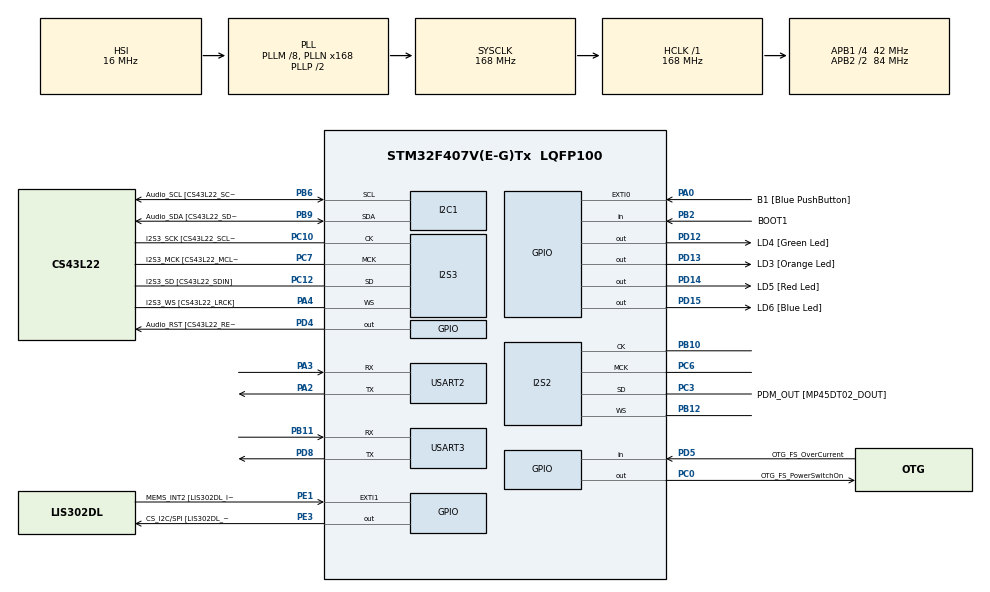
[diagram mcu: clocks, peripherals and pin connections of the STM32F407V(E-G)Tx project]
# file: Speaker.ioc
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Dma.Request0=SPI3_TX
Dma.Request1=USART3_RX
Dma.Request2=USART3_TX
Dma.SPI3_TX.0.Direction=DMA_MEMORY_TO_PERIPH
Dma.SPI3_TX.0.FIFOMode=DMA_FIFOMODE_DISABLE
Dma.SPI3_TX.0.Instance=DMA1_Stream5
Dma.SPI3_TX.0.MemDataAlignment=DMA_MDATAALIGN_BYTE
Dma.SPI3_TX.0.MemInc=DMA_MINC_ENABLE
Dma.SPI3_TX.0.Mode=DMA_NORMAL
Dma.SPI3_TX.0.PeriphDataAlignment=DMA_PDATAALIGN_BYTE
Dma.SPI3_TX.0.PeriphInc=DMA_PINC_DISABLE
Dma.SPI3_TX.0.Priority=DMA_PRIORITY_LOW
Dma.USART3_RX.1.Direction=DMA_PERIPH_TO_MEMORY
Dma.USART3_RX.1.FIFOMode=DMA_FIFOMODE_DISABLE
Dma.USART3_RX.1.Instance=DMA1_Stream1
Dma.USART3_RX.1.MemDataAlignment=DMA_MDATAALIGN_BYTE
Dma.USART3_RX.1.MemInc=DMA_MINC_ENABLE
Dma.USART3_RX.1.Mode=DMA_NORMAL
Dma.USART3_RX.1.PeriphDataAlignment=DMA_PDATAALIGN_BYTE
Dma.USART3_RX.1.PeriphInc=DMA_PINC_DISABLE
Dma.USART3_RX.1.Priority=DMA_PRIORITY_LOW
Dma.USART3_TX.2.Direction=DMA_MEMORY_TO_PERIPH
Dma.USART3_TX.2.FIFOMode=DMA_FIFOMODE_DISABLE
Dma.USART3_TX.2.Instance=DMA1_Stream3
Dma.USART3_TX.2.MemDataAlignment=DMA_MDATAALIGN_BYTE
Dma.USART3_TX.2.MemInc=DMA_MINC_ENABLE
Dma.USART3_TX.2.Mode=DMA_NORMAL
Dma.USART3_TX.2.PeriphDataAlignment=DMA_PDATAALIGN_BYTE
Dma.USART3_TX.2.PeriphInc=DMA_PINC_DISABLE
Dma.USART3_TX.2.Priority=DMA_PRIORITY_LOW
I2S2.ErrorAudioFreq=-0.27 %
I2S2.FullDuplexMode=I2S_FULLDUPLEXMODE_DISABLE
I2S2.Instance=SPI$Index
I2S2.Mode=I2S_MODE_MASTER_RX
I2S2.RealAudioFreq=7.978 KHz
I2S2.VirtualMode=I2S_MODE_MASTER
I2S3.AudioFreq=I2S_AUDIOFREQ_48K
I2S3.ErrorAudioFreq=-2.34 %
I2S3.FullDuplexMode=I2S_FULLDUPLEXMODE_DISABLE
I2S3.Instance=SPI$Index
I2S3.RealAudioFreq=46.875 KHz
I2S3.VirtualMode=I2S_MODE_MASTER
Mcu.Family=STM32F4
Mcu.Name=STM32F407V(E-G)Tx
Mcu.Package=LQFP100
NVIC.DMA1_Stream1_IRQn=true\:0\:0\:false\:false\:true\:false
NVIC.DMA1_Stream3_IRQn=true\:0\:0\:false\:false\:true\:false
NVIC.DMA1_Stream5_IRQn=true\:0\:0\:false\:false\:true\:false
NVIC.PriorityGroup=NVIC_PRIORITYGROUP_4
NVIC.USART2_IRQn=true\:0\:0\:false\:false\:true\:true
NVIC.USART3_IRQn=true\:0\:0\:false\:false\:true\:true
PA0-WKUP.GPIO_Label=B1 [Blue PushButton]
PA0-WKUP.GPIO_ModeDefaultEXTI=GPIO_MODE_EVT_RISING
PA0-WKUP.GPIO_PuPd=GPIO_NOPULL
PA0-WKUP.Signal=GPXTI0
PA10.GPIO_Label=OTG_FS_ID
PA10.GPIO_Mode=GPIO_MODE_AF_PP
PA10.GPIO_PuPd=GPIO_NOPULL
PA10.GPIO_Speed=GPIO_SPEED_FREQ_LOW
PA10.Signal=USB_OTG_FS_ID
PA11.GPIO_Label=OTG_FS_DM
PA11.GPIO_Mode=GPIO_MODE_AF_PP
PA11.GPIO_PuPd=GPIO_NOPULL
PA11.GPIO_Speed=GPIO_SPEED_FREQ_LOW
PA11.Signal=USB_OTG_FS_DM
PA12.GPIO_Label=OTG_FS_DP
PA12.GPIO_Mode=GPIO_MODE_AF_PP
PA12.GPIO_PuPd=GPIO_NOPULL
PA12.GPIO_Speed=GPIO_SPEED_FREQ_LOW
PA12.Signal=USB_OTG_FS_DP
PA13.GPIO_Label=SWDIO
PA13.Signal=SYS_JTMS-SWDIO
PA14.GPIO_Label=SWCLK
PA14.Signal=SYS_JTCK-SWCLK
PA2.Mode=Asynchronous
PA2.Signal=USART2_TX
PA3.Mode=Asynchronous
PA3.Signal=USART2_RX
PA4.GPIO_Label=I2S3_WS [CS43L22_LRCK]
PA4.GPIO_Mode=GPIO_MODE_AF_PP
PA4.GPIO_PuPd=GPIO_NOPULL
PA4.GPIO_Speed=GPIO_SPEED_FREQ_LOW
PA4.Mode=Half_Duplex_Master
PA4.Signal=I2S3_WS
PA5.GPIO_Label=SPI1_SCK [LIS302DL_SCL/SPC]
PA5.GPIO_Mode=GPIO_MODE_AF_PP
PA5.GPIO_PuPd=GPIO_NOPULL
PA5.GPIO_Speed=GPIO_SPEED_FREQ_LOW
PA5.Signal=SPI1_SCK
PA6.GPIO_Label=SPI1_MISO [LIS302DL_SDO]
PA6.GPIO_Mode=GPIO_MODE_AF_PP
PA6.GPIO_PuPd=GPIO_NOPULL
PA6.GPIO_Speed=GPIO_SPEED_FREQ_LOW
PA6.Signal=SPI1_MISO
PA7.GPIO_Label=SPI1_MOSI [LIS302DL_SDA/SDI/SDO]
PA7.GPIO_Mode=GPIO_MODE_AF_PP
PA7.GPIO_PuPd=GPIO_NOPULL
PA7.GPIO_Speed=GPIO_SPEED_FREQ_LOW
PA7.Signal=SPI1_MOSI
PA9.GPIO_Label=VBUS_FS
PA9.GPIO_Mode=GPIO_MODE_INPUT
PA9.GPIO_PuPd=GPIO_NOPULL
PA9.Signal=USB_OTG_FS_VBUS
PB10.Mode=Half_Duplex_Master
PB10.Signal=I2S2_CK
PB11.Mode=Asynchronous
PB11.Signal=USART3_RX
PB12.Mode=Half_Duplex_Master
PB12.Signal=I2S2_WS
PB2.GPIO_Label=BOOT1
PB2.GPIO_Mode=GPIO_MODE_INPUT
PB2.GPIO_PuPd=GPIO_NOPULL
PB2.Signal=GPIO_Input
PB3.GPIO_Label=SWO
PB3.Signal=SYS_JTDO-SWO
PB6.GPIO_Label=Audio_SCL [CS43L22_SCL]
PB6.GPIO_Mode=GPIO_MODE_AF_OD
PB6.GPIO_PuPd=GPIO_NOPULL
PB6.GPIO_Speed=GPIO_SPEED_FREQ_LOW
PB6.Mode=I2C
PB6.Signal=I2C1_SCL
PB9.GPIO_Label=Audio_SDA [CS43L22_SDA]
PB9.GPIO_Mode=GPIO_MODE_AF_OD
PB9.GPIO_PuPd=GPIO_NOPULL
PB9.GPIO_Speed=GPIO_SPEED_FREQ_LOW
PB9.Mode=I2C
PB9.Signal=I2C1_SDA
PC0.GPIO_Label=OTG_FS_PowerSwitchOn
PC0.GPIO_PuPd=GPIO_NOPULL
PC0.GPIO_Speed=GPIO_SPEED_FREQ_LOW
PC0.PinState=GPIO_PIN_SET
PC0.Signal=GPIO_Output
PC10.GPIO_Label=I2S3_SCK [CS43L22_SCLK]
PC10.GPIO_Mode=GPIO_MODE_AF_PP
PC10.GPIO_PuPd=GPIO_NOPULL
PC10.GPIO_Speed=GPIO_SPEED_FREQ_LOW
PC10.Mode=Half_Duplex_Master
PC10.Signal=I2S3_CK
PC12.GPIO_Label=I2S3_SD [CS43L22_SDIN]
PC12.GPIO_Mode=GPIO_MODE_AF_PP
PC12.GPIO_PuPd=GPIO_NOPULL
PC12.GPIO_Speed=GPIO_SPEED_FREQ_LOW
PC12.Mode=Half_Duplex_Master
PC12.Signal=I2S3_SD
PC14-OSC32_IN.GPIO_Label=PC14-OSC32_IN
PC14-OSC32_IN.Signal=RCC_OSC32_IN
PC15-OSC32_OUT.GPIO_Label=PC15-OSC32_OUT
PC15-OSC32_OUT.Signal=RCC_OSC32_OUT
PC3.GPIO_Label=PDM_OUT [MP45DT02_DOUT]
PC3.GPIO_Mode=GPIO_MODE_AF_PP
PC3.GPIO_PuPd=GPIO_NOPULL
PC3.GPIO_Speed=GPIO_SPEED_FREQ_LOW
PC3.Mode=Half_Duplex_Master
PC3.Signal=I2S2_SD
PC6.Mode=Master_Clock_Activated
PC6.Signal=I2S2_MCK
PC7.GPIO_Label=I2S3_MCK [CS43L22_MCLK]
PC7.GPIO_Mode=GPIO_MODE_AF_PP
PC7.GPIO_PuPd=GPIO_NOPULL
PC7.GPIO_Speed=GPIO_SPEED_FREQ_LOW
PC7.Mode=Master_Clock_Activated
PC7.Signal=I2S3_MCK
PD12.GPIO_Label=LD4 [Green Led]
PD12.GPIO_PuPd=GPIO_NOPULL
PD12.GPIO_Speed=GPIO_SPEED_FREQ_LOW
PD12.Signal=GPIO_Output
PD13.GPIO_Label=LD3 [Orange Led]
PD13.GPIO_PuPd=GPIO_NOPULL
PD13.GPIO_Speed=GPIO_SPEED_FREQ_LOW
PD13.Signal=GPIO_Output
PD14.GPIO_Label=LD5 [Red Led]
PD14.GPIO_PuPd=GPIO_NOPULL
PD14.GPIO_Speed=GPIO_SPEED_FREQ_LOW
PD14.Signal=GPIO_Output
PD15.GPIO_Label=LD6 [Blue Led]
PD15.GPIO_PuPd=GPIO_NOPULL
PD15.GPIO_Speed=GPIO_SPEED_FREQ_LOW
PD15.Signal=GPIO_Output
PD4.GPIO_Label=Audio_RST [CS43L22_RESET]
PD4.GPIO_PuPd=GPIO_NOPULL
PD4.GPIO_Speed=GPIO_SPEED_FREQ_LOW
PD4.Signal=GPIO_Output
PD5.GPIO_Label=OTG_FS_OverCurrent
PD5.GPIO_Mode=GPIO_MODE_INPUT
PD5.GPIO_PuPd=GPIO_NOPULL
PD5.Signal=GPIO_Input
PD8.Mode=Asynchronous
PD8.Signal=USART3_TX
PE1.GPIO_Label=MEMS_INT2 [LIS302DL_INT2]
PE1.GPIO_ModeDefaultEXTI=GPIO_MODE_EVT_RISING
PE1.GPIO_PuPd=GPIO_NOPULL
PE1.Signal=GPXTI1
PE3.GPIO_Label=CS_I2C/SPI [LIS302DL_CS_I2C/SPI]
PE3.GPIO_PuPd=GPIO_NOPULL
PE3.GPIO_Speed=GPIO_SPEED_FREQ_LOW
PE3.Signal=GPIO_Output
PH0-OSC_IN.GPIO_Label=PH0-OSC_IN
PH0-OSC_IN.Signal=RCC_OSC_IN
PH1-OSC_OUT.GPIO_Label=PH1-OSC_OUT
PH1-OSC_OUT.Signal=RCC_OSC_OUT
ProjectManager.HeapSize=0x200
ProjectManager.StackSize=0x400
ProjectManager.TargetToolchain=SW4STM32
RCC.48MHZClocksFreq_Value=48000000
RCC.AHBFreq_Value=168000000
RCC.APB1CLKDivider=RCC_HCLK_DIV4
RCC.APB1Freq_Value=42000000
RCC.APB1TimFreq_Value=84000000
RCC.APB2CLKDivider=RCC_HCLK_DIV2
RCC.APB2Freq_Value=84000000
RCC.APB2TimFreq_Value=168000000
RCC.CortexFreq_Value=168000000
RCC.HCLKFreq_Value=168000000
RCC.HSE_VALUE=8000000
RCC.HSI_VALUE=16000000
RCC.LSE_VALUE=32768
RCC.PLLM=8
RCC.PLLN=168
RCC.PLLQ=7
RCC.SYSCLKFreq_VALUE=168000000
RCC.SYSCLKSource=RCC_SYSCLKSOURCE_PLLCLK
RCC.VCOOutputFreq_Value=336000000
USART2.VirtualMode=VM_ASYNC
USART3.VirtualMode=VM_ASYNC
board=STM32F4DISCOVERY

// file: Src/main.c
/**
  ******************************************************************************
  * @file           : main.c
  * @brief          : Main program body
  ******************************************************************************
  ** This notice applies to any and all portions of this file
  * that are not between comment pairs USER CODE BEGIN and
  * USER CODE END. Other portions of this file, whether
  * inserted by the user or by software development tools
  * are owned by their respective copyright owners.
  *
  * COPYRIGHT(c) 2018 STMicroelectronics
  *
  * Redistribution and use in source and binary forms, with or without modification,
  * are permitted provided that the following conditions are met:
  *   1. Redistributions of source code must retain the above copyright notice,
  *      this list of conditions and the following disclaimer.
  *   2. Redistributions in binary form must reproduce the above copyright notice,
  *      this list of conditions and the following disclaimer in the documentation
  *      and/or other materials provided with the distribution.
  *   3. Neither the name of STMicroelectronics nor the names of its contributors
  *      may be used to endorse or promote products derived from this software
  *      without specific prior written permission.
  *
  * THIS SOFTWARE IS PROVIDED BY THE COPYRIGHT HOLDERS AND CONTRIBUTORS "AS IS"
  * AND ANY EXPRESS OR IMPLIED WARRANTIES, INCLUDING, BUT NOT LIMITED TO, THE
  * IMPLIED WARRANTIES OF MERCHANTABILITY AND FITNESS FOR A PARTICULAR PURPOSE ARE
  * DISCLAIMED. IN NO EVENT SHALL THE COPYRIGHT HOLDER OR CONTRIBUTORS BE LIABLE
  * FOR ANY DIRECT, INDIRECT, INCIDENTAL, SPECIAL, EXEMPLARY, OR CONSEQUENTIAL
  * DAMAGES (INCLUDING, BUT NOT LIMITED TO, PROCUREMENT OF SUBSTITUTE GOODS OR
  * SERVICES; LOSS OF USE, DATA, OR PROFITS; OR BUSINESS INTERRUPTION) HOWEVER
  * CAUSED AND ON ANY THEORY OF LIABILITY, WHETHER IN CONTRACT, STRICT LIABILITY,
  * OR TORT (INCLUDING NEGLIGENCE OR OTHERWISE) ARISING IN ANY WAY OUT OF THE USE
  * OF THIS SOFTWARE, EVEN IF ADVISED OF THE POSSIBILITY OF SUCH DAMAGE.
  *
  ******************************************************************************
  */
#include "main.h"
#include "stm32f4xx_hal.h"

/* USER CODE BEGIN Includes */
#define MASTERVOL_L 0x20	//	reg MASVOLA
#define MASTERVOL_R 0x21	// reg MASVOLB
#define MAXVOL 0xFF
#define MINVOL 0x50
#define MUTE_L 1
#define MUTE_R 2
/* USER CODE END Includes */

I2C_HandleTypeDef hi2c1;

I2S_HandleTypeDef hi2s2;
I2S_HandleTypeDef hi2s3;
DMA_HandleTypeDef hdma_spi3_tx;

UART_HandleTypeDef huart2;
UART_HandleTypeDef huart3;
DMA_HandleTypeDef hdma_usart3_rx;
DMA_HandleTypeDef hdma_usart3_tx;

/* USER CODE BEGIN PV */
/* Private variables ---------------------------------------------------------*/
uint8_t volL = 143, volR = 143;	// -0.5dB
uint8_t pbControl = 0x60; // not mute
uint8_t muteL = 0, muteR = 0;
char nodeRx, nodeTx[50];

uint8_t merry_christmas[] = {1,4,4,5,4,5,2,2,2,5,5,6,5,4,3,1,1,6,6,7,6,5,4,2,1,1,2,5,3,4,
		1,4,4,4,3,3,4,3,2,1,5,6,5,4,1,1,1,1,2,5,3,4};
/* USER CODE END PV */

void SystemClock_Config(void);
static void MX_GPIO_Init(void);
static void MX_DMA_Init(void);
static void MX_I2C1_Init(void);
static void MX_I2S3_Init(void);
static void MX_USART2_UART_Init(void);
static void MX_I2S2_Init(void);
static void MX_USART3_UART_Init(void);

/* USER CODE BEGIN PFP */
/* Private function prototypes -----------------------------------------------*/

/* USER CODE END PFP */

/* USER CODE BEGIN 0 */
uint8_t key[] = {0x0F,0x1F,0x2F,0x3F,0x4F,0x5F,0x6F,0x7F,0x8F,0x9F,0xAF,0xBF,0xCF,0xDF,0xEF,0xFF};

void setVolume(uint8_t regVol, uint8_t isInc) {
	uint8_t spk_setup[2];
	int range = isInc ? 7 : -7;
	HAL_StatusTypeDef status;
	char uart_out[100];

	spk_setup[0] = regVol;
	spk_setup[1] = regVol == MASTERVOL_L ? volL : volR;

	if (regVol == MASTERVOL_L && muteL) {
		toggleMute(1);
	} else if (regVol == MASTERVOL_R && muteR) {
		toggleMute(0);
	}

	spk_setup[1] += range;
	if (spk_setup[1] > MAXVOL) spk_setup[1] = MAXVOL;
	else if (spk_setup[1] < MINVOL) spk_setup[1] = MINVOL;

	status = HAL_I2C_Master_Transmit(&hi2c1, 0x94, spk_setup, 2, 50);
	if (regVol == MASTERVOL_L) volL = spk_setup[1];
	else volR = spk_setup[1];

	sprintf(uart_out, "Set vol status: %d\n\r", status);
	HAL_UART_Transmit(&huart2, uart_out, strlen(uart_out), 10);
	sprintf(uart_out, "Vol L: %x\tVol R: %x\n\r", volL, volR);
	HAL_UART_Transmit(&huart2, uart_out, strlen(uart_out), 10);

//	sprintf(nodeTx, "%d,%d,%d,%d", volL, volR, muteL, muteR);
//	HAL_UART_Transmit_DMA(&huart3, nodeTx, strlen(nodeTx));
}

void toggleMute(uint8_t isLeft) {
	uint8_t spk_setup[2];
	HAL_StatusTypeDef status;
	char uart_out[100];

	spk_setup[0] = 0x0D;

	if (isLeft) {
		pbControl ^= MUTE_L;
		muteL = !muteL;
	} else {
		pbControl ^= MUTE_R;
		muteR = !muteR;
	}

	spk_setup[1] = pbControl;

	status = HAL_I2C_Master_Transmit(&hi2c1, 0x94, spk_setup, 2, 50);
	sprintf(uart_out, "Mute L: %d\tMute R: %d\n\r", muteL, muteR);
	HAL_UART_Transmit(&huart2, uart_out, strlen(uart_out), 10);

//	sprintf(nodeTx, "%d,%d,%d,%d", volL, volR, muteL, muteR);
//	HAL_UART_Transmit_DMA(&huart3, nodeTx, strlen(nodeTx));
}

void decreaseSound(uint8_t regVol) {
	setVolume(regVol, 0);
}

void increaseSound(uint8_t regVol) {
	setVolume(regVol, 1);
}
/* USER CODE END 0 */

int main(void)
{
  /* USER CODE BEGIN 1 */
	char uart_out[100], mcu_out[50];
	HAL_StatusTypeDef status;

	uint8_t spk_setup[2],play[2];
	uint16_t spk_out = 0;
	char input;
	int i,period=2000, k=0;

  /* USER CODE END 1 */

  /* MCU Configuration----------------------------------------------------------*/

  /* Reset of all peripherals, Initializes the Flash interface and the Systick. */
  HAL_Init();

  /* Configure the system clock */
  SystemClock_Config();

  /* Initialize all configured peripherals */
  MX_GPIO_Init();
  MX_DMA_Init();
  MX_I2C1_Init();
  MX_I2S3_Init();
  MX_USART2_UART_Init();
  MX_I2S2_Init();
  MX_USART3_UART_Init();
  /* USER CODE BEGIN 2 */
  // Initialize speaker
  GPIOD->ODR = 1 << 4;
  //HAL_GPIO_WritePin(GPIOD, GPIO_PIN_4, GPIO_PIN_RESET);
  //HAL_GPIO_WritePin(GPIOD, GPIO_PIN_4, GPIO_PIN_SET);

  spk_setup[0] = 0x00; spk_setup[1] = 0x99; // sequence from datasheet
  HAL_I2C_Master_Transmit(&hi2c1,0x94,spk_setup,2,50);

  spk_setup[0] = 0x47; spk_setup[1] = 0x80;
  HAL_I2C_Master_Transmit(&hi2c1, 0x94, spk_setup, 2, 50);

  spk_setup[0] = 0x32; spk_setup[1] = 0x80; // write 1 to bit
  HAL_I2C_Master_Transmit(&hi2c1, 0x94, spk_setup, 2, 50);

  spk_setup[0] = 0x32; spk_setup[1] = 0x00; // write 0 to bit
  HAL_I2C_Master_Transmit(&hi2c1, 0x94, spk_setup, 2, 50);

  spk_setup[0]=0x00; spk_setup[1]=0x00;
  HAL_I2C_Master_Transmit(&hi2c1,0x94,spk_setup,2,50);

  spk_setup[0] = 0x1C; spk_setup[1] = 0xFF; // Beep Frequency config
  HAL_I2C_Master_Transmit(&hi2c1, 0x94, spk_setup, 2, 50);

  spk_setup[0] = 0x1E; spk_setup[1] = 0xE0; // Beep & Tone config
  HAL_I2C_Master_Transmit(&hi2c1, 0x94, spk_setup, 2, 50);

  spk_setup[0] = 0x02; spk_setup[1] = 0x9E; // Set Power Ctl1 register
  HAL_I2C_Master_Transmit(&hi2c1, 0x94, spk_setup, 2, 50);

  // Configure volume master left
  spk_setup[0] = MASTERVOL_L; spk_setup[1] = volL;
  HAL_I2C_Master_Transmit(&hi2c1, 0x94, spk_setup, 2, 50);
  spk_setup[0] =  MASTERVOL_R; spk_setup[1] = volR;
  status = HAL_I2C_Master_Transmit(&hi2c1, 0x94, spk_setup, 2, 50);

  sprintf(nodeTx, "%d,%d,%d,%d", volL, volR, muteL, muteR);
  HAL_UART_Transmit(&huart3, nodeTx, strlen(nodeTx), 10);
  /* USER CODE END 2 */

  /* Infinite loop */
  /* USER CODE BEGIN WHILE */
  spk_setup[0] = 0x1E; spk_setup[1] = 0x20;
  status = HAL_I2C_Master_Transmit(&hi2c1, 0x94, spk_setup, 2, 50);
  uint32_t note_length = 250; // in milliseconds
  uint32_t note_last_played = HAL_GetTick();

  status = HAL_UART_Receive_DMA(&huart3, &nodeRx, 1);
  sprintf(uart_out, "status: %d\r\n", status);
  HAL_UART_Transmit(&huart2, uart_out, strlen(uart_out), 10);
  while (1)
  {
	  play[0] = 0x1C; // select note key 1-7
	  play[1] = key[merry_christmas[k]];
	  k = (k+1) % 52;

	  // Send the note that selected
	  HAL_I2C_Master_Transmit(&hi2c1, 0x94, play, 2, 50);

	  spk_setup[0] = 0x1E; spk_setup[1] = 0xE0; // Beep & Tone config
	  HAL_I2C_Master_Transmit(&hi2c1, 0x94, spk_setup, 2, 50);

	  // Play note loop
//	  for (i=0; i<period; ++i) HAL_I2S_Transmit(&hi2s3, &spk_out , 0x10, 10);
	  while (HAL_GetTick() - note_last_played < note_length) {
		  HAL_I2S_Transmit(&hi2s3, &spk_out , 0x10, 10);
	  }
	  note_last_played = HAL_GetTick();

  /* USER CODE END WHILE */

  }

}

void SystemClock_Config(void)
{

  RCC_OscInitTypeDef RCC_OscInitStruct;
  RCC_ClkInitTypeDef RCC_ClkInitStruct;
  RCC_PeriphCLKInitTypeDef PeriphClkInitStruct;

    /**Configure the main internal regulator output voltage
    */
  __HAL_RCC_PWR_CLK_ENABLE();

  __HAL_PWR_VOLTAGESCALING_CONFIG(PWR_REGULATOR_VOLTAGE_SCALE1);

    /**Initializes the CPU, AHB and APB busses clocks
    */
  RCC_OscInitStruct.OscillatorType = RCC_OSCILLATORTYPE_HSI;
  RCC_OscInitStruct.HSIState = RCC_HSI_ON;
  RCC_OscInitStruct.HSICalibrationValue = 16;
  RCC_OscInitStruct.PLL.PLLState = RCC_PLL_ON;
  RCC_OscInitStruct.PLL.PLLSource = RCC_PLLSOURCE_HSI;
  RCC_OscInitStruct.PLL.PLLM = 8;
  RCC_OscInitStruct.PLL.PLLN = 168;
  RCC_OscInitStruct.PLL.PLLP = RCC_PLLP_DIV2;
  RCC_OscInitStruct.PLL.PLLQ = 7;
  if (HAL_RCC_OscConfig(&RCC_OscInitStruct) != HAL_OK)
  {
    _Error_Handler(__FILE__, __LINE__);
  }

    /**Initializes the CPU, AHB and APB busses clocks
    */
  RCC_ClkInitStruct.ClockType = RCC_CLOCKTYPE_HCLK|RCC_CLOCKTYPE_SYSCLK
                              |RCC_CLOCKTYPE_PCLK1|RCC_CLOCKTYPE_PCLK2;
  RCC_ClkInitStruct.SYSCLKSource = RCC_SYSCLKSOURCE_PLLCLK;
  RCC_ClkInitStruct.AHBCLKDivider = RCC_SYSCLK_DIV1;
  RCC_ClkInitStruct.APB1CLKDivider = RCC_HCLK_DIV4;
  RCC_ClkInitStruct.APB2CLKDivider = RCC_HCLK_DIV2;

  if (HAL_RCC_ClockConfig(&RCC_ClkInitStruct, FLASH_LATENCY_5) != HAL_OK)
  {
    _Error_Handler(__FILE__, __LINE__);
  }

  PeriphClkInitStruct.PeriphClockSelection = RCC_PERIPHCLK_I2S;
  PeriphClkInitStruct.PLLI2S.PLLI2SN = 192;
  PeriphClkInitStruct.PLLI2S.PLLI2SR = 2;
  if (HAL_RCCEx_PeriphCLKConfig(&PeriphClkInitStruct) != HAL_OK)
  {
    _Error_Handler(__FILE__, __LINE__);
  }

    /**Configure the Systick interrupt time
    */
  HAL_SYSTICK_Config(HAL_RCC_GetHCLKFreq()/1000);

    /**Configure the Systick
    */
  HAL_SYSTICK_CLKSourceConfig(SYSTICK_CLKSOURCE_HCLK);

  /* SysTick_IRQn interrupt configuration */
  HAL_NVIC_SetPriority(SysTick_IRQn, 0, 0);
}

/* I2C1 init function */
static void MX_I2C1_Init(void)
{

  hi2c1.Instance = I2C1;
  hi2c1.Init.ClockSpeed = 100000;
  hi2c1.Init.DutyCycle = I2C_DUTYCYCLE_2;
  hi2c1.Init.OwnAddress1 = 0;
  hi2c1.Init.AddressingMode = I2C_ADDRESSINGMODE_7BIT;
  hi2c1.Init.DualAddressMode = I2C_DUALADDRESS_DISABLE;
  hi2c1.Init.OwnAddress2 = 0;
  hi2c1.Init.GeneralCallMode = I2C_GENERALCALL_DISABLE;
  hi2c1.Init.NoStretchMode = I2C_NOSTRETCH_DISABLE;
  if (HAL_I2C_Init(&hi2c1) != HAL_OK)
  {
    _Error_Handler(__FILE__, __LINE__);
  }

}

/* I2S2 init function */
static void MX_I2S2_Init(void)
{

  hi2s2.Instance = SPI2;
  hi2s2.Init.Mode = I2S_MODE_MASTER_RX;
  hi2s2.Init.Standard = I2S_STANDARD_PHILIPS;
  hi2s2.Init.DataFormat = I2S_DATAFORMAT_16B;
  hi2s2.Init.MCLKOutput = I2S_MCLKOUTPUT_ENABLE;
  hi2s2.Init.AudioFreq = I2S_AUDIOFREQ_8K;
  hi2s2.Init.CPOL = I2S_CPOL_LOW;
  hi2s2.Init.ClockSource = I2S_CLOCK_PLL;
  hi2s2.Init.FullDuplexMode = I2S_FULLDUPLEXMODE_DISABLE;
  if (HAL_I2S_Init(&hi2s2) != HAL_OK)
  {
    _Error_Handler(__FILE__, __LINE__);
  }

}

/* I2S3 init function */
static void MX_I2S3_Init(void)
{

  hi2s3.Instance = SPI3;
  hi2s3.Init.Mode = I2S_MODE_MASTER_TX;
  hi2s3.Init.Standard = I2S_STANDARD_PHILIPS;
  hi2s3.Init.DataFormat = I2S_DATAFORMAT_16B;
  hi2s3.Init.MCLKOutput = I2S_MCLKOUTPUT_ENABLE;
  hi2s3.Init.AudioFreq = I2S_AUDIOFREQ_48K;
  hi2s3.Init.CPOL = I2S_CPOL_LOW;
  hi2s3.Init.ClockSource = I2S_CLOCK_PLL;
  hi2s3.Init.FullDuplexMode = I2S_FULLDUPLEXMODE_DISABLE;
  if (HAL_I2S_Init(&hi2s3) != HAL_OK)
  {
    _Error_Handler(__FILE__, __LINE__);
  }

}

/* USART2 init function */
static void MX_USART2_UART_Init(void)
{

  huart2.Instance = USART2;
  huart2.Init.BaudRate = 115200;
  huart2.Init.WordLength = UART_WORDLENGTH_8B;
  huart2.Init.StopBits = UART_STOPBITS_1;
  huart2.Init.Parity = UART_PARITY_NONE;
  huart2.Init.Mode = UART_MODE_TX_RX;
  huart2.Init.HwFlowCtl = UART_HWCONTROL_NONE;
  huart2.Init.OverSampling = UART_OVERSAMPLING_16;
  if (HAL_UART_Init(&huart2) != HAL_OK)
  {
    _Error_Handler(__FILE__, __LINE__);
  }

}

/* USART3 init function */
static void MX_USART3_UART_Init(void)
{

  huart3.Instance = USART3;
  huart3.Init.BaudRate = 115200;
  huart3.Init.WordLength = UART_WORDLENGTH_8B;
  huart3.Init.StopBits = UART_STOPBITS_1;
  huart3.Init.Parity = UART_PARITY_NONE;
  huart3.Init.Mode = UART_MODE_TX_RX;
  huart3.Init.HwFlowCtl = UART_HWCONTROL_NONE;
  huart3.Init.OverSampling = UART_OVERSAMPLING_16;
  if (HAL_UART_Init(&huart3) != HAL_OK)
  {
    _Error_Handler(__FILE__, __LINE__);
  }

}

static void MX_DMA_Init(void)
{
  /* DMA controller clock enable */
  __HAL_RCC_DMA1_CLK_ENABLE();

  /* DMA interrupt init */
  /* DMA1_Stream1_IRQn interrupt configuration */
  HAL_NVIC_SetPriority(DMA1_Stream1_IRQn, 0, 0);
  HAL_NVIC_EnableIRQ(DMA1_Stream1_IRQn);
  /* DMA1_Stream3_IRQn interrupt configuration */
  HAL_NVIC_SetPriority(DMA1_Stream3_IRQn, 0, 0);
  HAL_NVIC_EnableIRQ(DMA1_Stream3_IRQn);
  /* DMA1_Stream5_IRQn interrupt configuration */
  HAL_NVIC_SetPriority(DMA1_Stream5_IRQn, 0, 0);
  HAL_NVIC_EnableIRQ(DMA1_Stream5_IRQn);

}

/** Configure pins as
        * Analog
        * Input
        * Output
        * EVENT_OUT
        * EXTI
     PA5   ------> SPI1_SCK
     PA6   ------> SPI1_MISO
     PA7   ------> SPI1_MOSI
     PA9   ------> USB_OTG_FS_VBUS
     PA10   ------> USB_OTG_FS_ID
     PA11   ------> USB_OTG_FS_DM
     PA12   ------> USB_OTG_FS_DP
*/
static void MX_GPIO_Init(void)
{

  GPIO_InitTypeDef GPIO_InitStruct;

  /* GPIO Ports Clock Enable */
  __HAL_RCC_GPIOE_CLK_ENABLE();
  __HAL_RCC_GPIOC_CLK_ENABLE();
  __HAL_RCC_GPIOH_CLK_ENABLE();
  __HAL_RCC_GPIOA_CLK_ENABLE();
  __HAL_RCC_GPIOB_CLK_ENABLE();
  __HAL_RCC_GPIOD_CLK_ENABLE();

  /*Configure GPIO pin Output Level */
  HAL_GPIO_WritePin(CS_I2C_SPI_GPIO_Port, CS_I2C_SPI_Pin, GPIO_PIN_RESET);

  /*Configure GPIO pin Output Level */
  HAL_GPIO_WritePin(OTG_FS_PowerSwitchOn_GPIO_Port, OTG_FS_PowerSwitchOn_Pin, GPIO_PIN_SET);

  /*Configure GPIO pin Output Level */
  HAL_GPIO_WritePin(GPIOD, LD4_Pin|LD3_Pin|LD5_Pin|LD6_Pin
                          |Audio_RST_Pin, GPIO_PIN_RESET);

  /*Configure GPIO pin : CS_I2C_SPI_Pin */
  GPIO_InitStruct.Pin = CS_I2C_SPI_Pin;
  GPIO_InitStruct.Mode = GPIO_MODE_OUTPUT_PP;
  GPIO_InitStruct.Pull = GPIO_NOPULL;
  GPIO_InitStruct.Speed = GPIO_SPEED_FREQ_LOW;
  HAL_GPIO_Init(CS_I2C_SPI_GPIO_Port, &GPIO_InitStruct);

  /*Configure GPIO pin : OTG_FS_PowerSwitchOn_Pin */
  GPIO_InitStruct.Pin = OTG_FS_PowerSwitchOn_Pin;
  GPIO_InitStruct.Mode = GPIO_MODE_OUTPUT_PP;
  GPIO_InitStruct.Pull = GPIO_NOPULL;
  GPIO_InitStruct.Speed = GPIO_SPEED_FREQ_LOW;
  HAL_GPIO_Init(OTG_FS_PowerSwitchOn_GPIO_Port, &GPIO_InitStruct);

  /*Configure GPIO pin : B1_Pin */
  GPIO_InitStruct.Pin = B1_Pin;
  GPIO_InitStruct.Mode = GPIO_MODE_EVT_RISING;
  GPIO_InitStruct.Pull = GPIO_NOPULL;
  HAL_GPIO_Init(B1_GPIO_Port, &GPIO_InitStruct);

  /*Configure GPIO pins : SPI1_SCK_Pin SPI1_MISO_Pin SPI1_MOSI_Pin */
  GPIO_InitStruct.Pin = SPI1_SCK_Pin|SPI1_MISO_Pin|SPI1_MOSI_Pin;
  GPIO_InitStruct.Mode = GPIO_MODE_AF_PP;
  GPIO_InitStruct.Pull = GPIO_NOPULL;
  GPIO_InitStruct.Speed = GPIO_SPEED_FREQ_LOW;
  GPIO_InitStruct.Alternate = GPIO_AF5_SPI1;
  HAL_GPIO_Init(GPIOA, &GPIO_InitStruct);

  /*Configure GPIO pin : BOOT1_Pin */
  GPIO_InitStruct.Pin = BOOT1_Pin;
  GPIO_InitStruct.Mode = GPIO_MODE_INPUT;
  GPIO_InitStruct.Pull = GPIO_NOPULL;
  HAL_GPIO_Init(BOOT1_GPIO_Port, &GPIO_InitStruct);

  /*Configure GPIO pins : LD4_Pin LD3_Pin LD5_Pin LD6_Pin
                           Audio_RST_Pin */
  GPIO_InitStruct.Pin = LD4_Pin|LD3_Pin|LD5_Pin|LD6_Pin
                          |Audio_RST_Pin;
  GPIO_InitStruct.Mode = GPIO_MODE_OUTPUT_PP;
  GPIO_InitStruct.Pull = GPIO_NOPULL;
  GPIO_InitStruct.Speed = GPIO_SPEED_FREQ_LOW;
  HAL_GPIO_Init(GPIOD, &GPIO_InitStruct);

  /*Configure GPIO pin : VBUS_FS_Pin */
  GPIO_InitStruct.Pin = VBUS_FS_Pin;
  GPIO_InitStruct.Mode = GPIO_MODE_INPUT;
  GPIO_InitStruct.Pull = GPIO_NOPULL;
  HAL_GPIO_Init(VBUS_FS_GPIO_Port, &GPIO_InitStruct);

  /*Configure GPIO pins : OTG_FS_ID_Pin OTG_FS_DM_Pin OTG_FS_DP_Pin */
  GPIO_InitStruct.Pin = OTG_FS_ID_Pin|OTG_FS_DM_Pin|OTG_FS_DP_Pin;
  GPIO_InitStruct.Mode = GPIO_MODE_AF_PP;
  GPIO_InitStruct.Pull = GPIO_NOPULL;
  GPIO_InitStruct.Speed = GPIO_SPEED_FREQ_LOW;
  GPIO_InitStruct.Alternate = GPIO_AF10_OTG_FS;
  HAL_GPIO_Init(GPIOA, &GPIO_InitStruct);

  /*Configure GPIO pin : OTG_FS_OverCurrent_Pin */
  GPIO_InitStruct.Pin = OTG_FS_OverCurrent_Pin;
  GPIO_InitStruct.Mode = GPIO_MODE_INPUT;
  GPIO_InitStruct.Pull = GPIO_NOPULL;
  HAL_GPIO_Init(OTG_FS_OverCurrent_GPIO_Port, &GPIO_InitStruct);

  /*Configure GPIO pin : MEMS_INT2_Pin */
  GPIO_InitStruct.Pin = MEMS_INT2_Pin;
  GPIO_InitStruct.Mode = GPIO_MODE_EVT_RISING;
  GPIO_InitStruct.Pull = GPIO_NOPULL;
  HAL_GPIO_Init(MEMS_INT2_GPIO_Port, &GPIO_InitStruct);

}

void _Error_Handler(char *file, int line)
{
  while(1)
  {
  }
}

/************************ (C) COPYRIGHT STMicroelectronics *****END OF FILE****/
